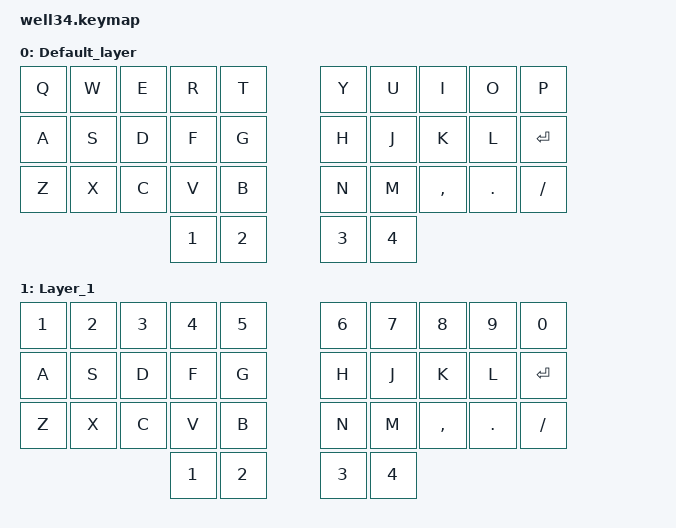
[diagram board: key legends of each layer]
/*
* Copyright (c) 2021 The ZMK Contributors
*
* SPDX-License-Identifier: MIT
*/

#include <behaviors.dtsi>
#include <dt-bindings/zmk/keys.h>

#define Default_layer 0
#define Layer_1 1

/ {
    behaviors {
        hm: homerow_mods {
            compatible = "zmk,behavior-hold-tap";
            label = "homerow mods";
            #binding-cells = <2>;
            tapping_term_ms = <200>;
            flavor = "tap-preferred";
            bindings =
                <&kp>,
                <&kp>;
        };
        qt: quick_tap {
            compatible = "zmk,behavior-hold-tap";
            label = "QUICK_TAP";
            #binding-cells = <2>;
            tapping-term-ms = <180>;
            quick-tap-ms = <225>;
            flavor = "hold-preferred";
            bindings =
                <&kp>,
                <&kp>;
        };
        qtl: quick_tap_layer {
            compatible = "zmk,behavior-hold-tap";
            label = "QUICK_TAP_LAYER";
            #binding-cells = <2>;
            tapping-term-ms = <180>;
            quick-tap-ms = <225>;
            flavor = "hold-preferred";
            bindings =
                <&mo>,
                <&kp>;
        };
    };

    macros {
    };

    combos {
        compatible = "zmk,combos";

        combo_switch_to_qaz {
            bindings = <&tog 3>;
            key-positions = <11 23 35>;
        };

        hm_gui_1 {
            bindings = <&kp LGUI>;
            key-positions = <37 29>;
        };

        tab {
            bindings = <&kp TAB>;
            key-positions = <15 16>;
        };

        esc {
            bindings = <&kp ESC>;
            key-positions = <3 4>;
        };

        shift {
            bindings = <&kp LEFT_SHIFT>;
            key-positions = <13 22>;
        };

        blank {
            bindings = <&tog 7>;
            key-positions = <37 38 39 40>;
        };

        ctrl_plus_alt {
            bindings = <&kp LA(LCTRL)>;
            key-positions = <38 37>;
        };

        combo_caplocks {
            bindings = <&kp CAPSLOCK>;
            key-positions = <13 14 22 21>;
        };

        combo_f1 {
            bindings = <&kp F1>;
            key-positions = <1 13>;
        };

        combo_f2 {
            bindings = <&kp F2>;
            key-positions = <2 14>;
        };

        combo_f3 {
            bindings = <&kp F3>;
            key-positions = <15 3>;
        };

        combo_f4 {
            bindings = <&kp F4>;
            key-positions = <4 16>;
        };

        combo_f5 {
            bindings = <&kp F5>;
            key-positions = <5 17>;
        };

        combo_f6 {
            bindings = <&kp F6>;
            key-positions = <6 18>;
        };

        combo_f7 {
            bindings = <&kp F7>;
            key-positions = <7 19>;
        };

        combo_f8 {
            bindings = <&kp F8>;
            key-positions = <8 20>;
        };

        combo_f9 {
            bindings = <&kp F9>;
            key-positions = <9 21>;
        };

        combo_f10 {
            bindings = <&kp F10>;
            key-positions = <10 22>;
        };

        combo_f11 {
            bindings = <&kp F11>;
            key-positions = <25 13>;
        };

        combo_f12 {
            bindings = <&kp F12>;
            key-positions = <14 26>;
        };
    };

    keymap {
        compatible = "zmk,keymap";

        Default_layer {
            bindings = <
&kp Q  &kp W  &kp E  &kp R         &kp T         &kp Y         &kp U         &kp I      &kp O &kp P
&kp A  &kp S         &kp D         &kp F         &kp G         &kp H      &kp J    &kp K     &kp L  &kp ENTER  
&kp Z  &kp X  &kp C         &kp V         &kp B         &kp N         &kp M  &kp COMMA  &kp DOT  &kp FSLH
                     &kp NUMBER_1  &kp NUMBER_2  &kp NUMBER_3  &kp NUMBER_4
            >;
        };

        Layer_1 {
            bindings = <
&kp NUMBER_1 &kp NUMBER_2  &kp NUMBER_3  &kp NUMBER_4  &kp NUMBER_5  &kp NUMBER_6  &kp NUMBER_7  &kp NUMBER_8  &kp NUMBER_9 &kp NUMBER_0
&kp A         &kp S         &kp D         &kp F         &kp G         &kp H         &kp J    &kp K     &kp L  &kp ENTER  
       &kp Z         &kp X         &kp C         &kp V         &kp B         &kp N         &kp M     &kp COMMA  &kp DOT  &kp FSLH
                                          &kp NUMBER_1  &kp NUMBER_2  &kp NUMBER_3  &kp NUMBER_4
            >;
        };
    };
};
